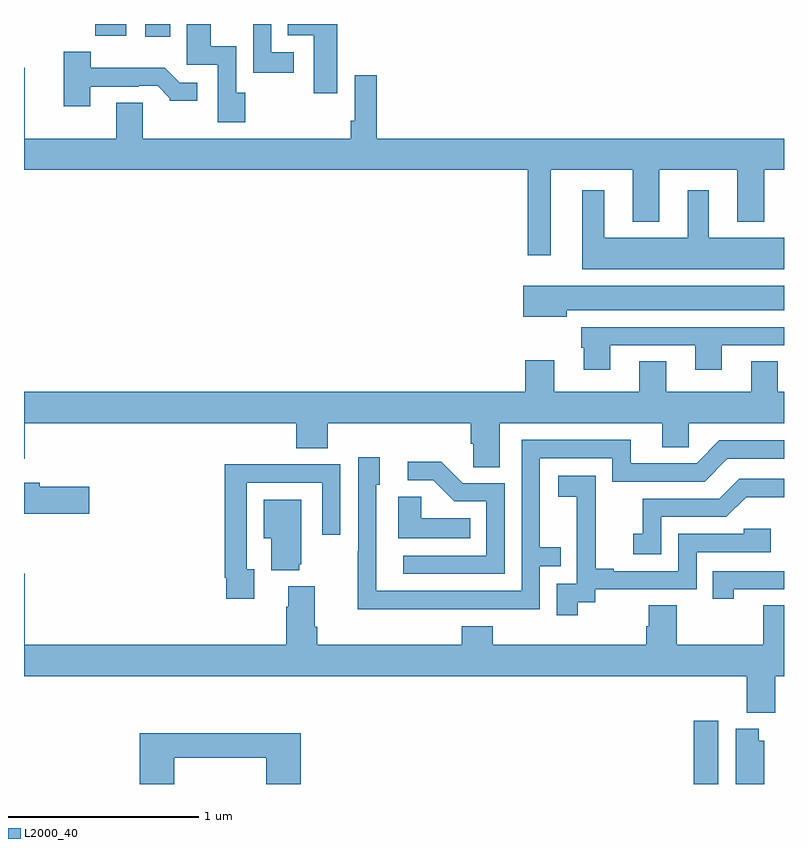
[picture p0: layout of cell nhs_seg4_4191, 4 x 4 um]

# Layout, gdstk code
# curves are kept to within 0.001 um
import gdstk
lib = gdstk.Library(unit=1e-6, precision=1e-09)
def R(c, l, rs):  # rectangles x0, y0, x1, y1
    for r in rs: c.add(gdstk.rectangle(r[:2], r[2:], *l))
def P(c, l, *ps):  # polygons
    for p in ps: c.add(gdstk.Polygon(p, *l))
L2000_40 = (2000, 40)

nhs_seg4_4191 = lib.new_cell('nhs_seg4_4191')
R(nhs_seg4_4191, L2000_40, [(336.524,814.9,336.655,815.233), (333.638,818.832,333.769,818.9), (333.376,818.837,333.538,818.9)])
P(nhs_seg4_4191, L2000_40, [(334.164,818.538),(334.116,818.538),(334.116,818.782),(333.982,818.782),(333.982,818.9),(333.857,818.9),(333.857,818.685),(334.02,818.685),(334.02,818.382),(334.164,818.382)],
  [(334.648,818.9),(334.387,818.9),(334.387,818.84),(334.526,818.84),(334.526,818.535),(334.648,818.535)],
  [(334.42,818.751),(334.302,818.751),(334.302,818.9),(334.206,818.9),(334.206,818.643),(334.42,818.643)],
  [(333.349,818.571),(333.605,818.571),(333.605,818.574),(333.704,818.574),(333.768,818.51),(333.768,818.495),(333.913,818.495),(333.913,818.592),(333.819,818.592),(333.741,818.671),(333.352,818.671),(333.352,818.755),(333.209,818.755),(333.209,818.466),(333.349,818.466)],
  [(333,818.671),(333,818.132),(335.652,818.132),(335.652,817.683),(335.773,817.683),(335.773,818.132),(336.203,818.132),(336.203,817.859),(336.343,817.859),(336.343,818.132),(336.755,818.132),(336.755,817.859),(336.895,817.859),(336.895,818.132),(337,818.132),(337,818.296),(334.856,818.296),(334.856,818.629),(334.74,818.629),(334.74,818.392),(334.72,818.392),(334.72,818.296),(333.625,818.296),(333.625,818.486),(333.485,818.486),(333.485,818.296),(333.004,818.296),(333.004,818.671)],
  [(337,817.774),(336.604,817.774),(336.604,818.026),(336.494,818.026),(336.494,817.774),(336.055,817.774),(336.055,818.026),(335.939,818.026),(335.939,817.61),(337,817.61)],
  [(335.857,817.394),(337,817.394),(337,817.522),(335.628,817.522),(335.628,817.358),(335.857,817.358)],
  [(336.085,817.209),(336.533,817.209),(336.533,817.08),(336.673,817.08),(336.673,817.209),(337,817.209),(337,817.305),(335.933,817.305),(335.933,817.197),(335.945,817.197),(335.945,817.08),(336.085,817.08)],
  [(335.503,816.8),(336.359,816.8),(336.359,816.673),(336.498,816.673),(336.498,816.8),(337,816.8),(337,816.964),(336.967,816.964),(336.967,817.124),(336.827,817.124),(336.827,816.964),(336.379,816.964),(336.379,817.124),(336.239,817.124),(336.239,816.964),(335.791,816.964),(335.791,817.129),(335.639,817.129),(335.639,816.964),(333,816.964),(333,816.612),(333.004,816.612),(333.004,816.8),(334.433,816.8),(334.433,816.667),(334.598,816.667),(334.598,816.8),(335.351,816.8),(335.351,816.691),(335.364,816.691),(335.364,816.568),(335.503,816.568)],
  [(335.219,815.82),(335.715,815.82),(335.715,816.045),(335.825,816.045),(335.825,816.146),(335.715,816.146),(335.715,816.615),(336.096,816.615),(336.096,816.492),(336.582,816.492),(336.702,816.612),(337,816.612),(337,816.708),(336.66,816.708),(336.54,816.588),(336.193,816.588),(336.193,816.711),(335.619,816.711),(335.619,815.916),(334.854,815.916),(334.854,816.474),(334.873,816.474),(334.873,816.619),(334.758,816.619),(334.758,816.125),(334.756,816.125),(334.756,815.819)],
  [(335.529,816.483),(335.31,816.483),(335.197,816.596),(335.019,816.596),(335.019,816.498),(335.153,816.498),(335.264,816.387),(335.433,816.387),(335.433,816.102),(334.995,816.102),(334.995,816.006),(335.529,816.006)],
  [(334.213,816.03),(334.173,816.03),(334.173,816.486),(334.569,816.486),(334.569,816.213),(334.665,816.213),(334.665,816.582),(334.349,816.582),(334.349,816.584),(334.057,816.584),(334.057,815.986),(334.065,815.986),(334.065,815.874),(334.213,815.874)],
  [(335.914,815.857),(336.006,815.857),(336.006,815.925),(336.54,815.925),(336.54,816.12),(336.929,816.12),(336.929,816.243),(336.789,816.243),(336.789,816.216),(336.444,816.216),(336.444,816.021),(336.103,816.021),(336.103,816.034),(336.008,816.034),(336.008,816.317),(336.009,816.317),(336.009,816.523),(335.811,816.523),(335.811,816.413),(335.909,816.413),(335.909,816.185),(335.91,816.185),(335.91,815.955),(335.805,815.955),(335.805,815.787),(335.914,815.787)],
  [(336.354,816.306),(336.696,816.306),(336.8,816.41),(337,816.41),(337,816.507),(336.764,816.507),(336.659,816.402),(336.256,816.402),(336.256,816.217),(336.207,816.217),(336.207,816.108),(336.354,816.108)],
  [(333.343,816.465),(333.082,816.465),(333.082,816.486),(333,816.486),(333,816.323),(333.343,816.323)],
  [(335.348,816.298),(335.091,816.298),(335.091,816.413),(334.97,816.413),(334.97,816.194),(335.348,816.194)],
  [(334.448,816.057),(334.459,816.057),(334.459,816.397),(334.262,816.397),(334.262,816.194),(334.301,816.194),(334.301,816.026),(334.448,816.026)],
  [(336.736,815.925),(337,815.925),(337,816.021),(336.625,816.021),(336.625,815.874),(336.736,815.874)],
  [(336.955,815.468),(337,815.468),(337,815.84),(336.892,815.84),(336.892,815.632),(336.435,815.632),(336.435,815.84),(336.287,815.84),(336.287,815.73),(336.275,815.73),(336.275,815.632),(335.468,815.632),(335.468,815.731),(335.303,815.731),(335.303,815.632),(334.544,815.632),(334.544,815.728),(334.531,815.728),(334.531,815.941),(334.391,815.941),(334.391,815.834),(334.379,815.834),(334.379,815.632),(333.004,815.632),(333.004,816.007),(333,816.007),(333,815.468),(336.803,815.468),(336.803,815.276),(336.955,815.276)],
  [(336.895,815.127),(336.868,815.127),(336.868,815.191),(336.746,815.191),(336.746,814.9),(336.895,814.9)],
  [(333.791,815.038),(334.274,815.038),(334.274,814.9),(334.457,814.9),(334.457,815.167),(333.608,815.167),(333.608,814.9),(333.791,814.9)])

lib.write_gds('nhs_seg4_4191.gds')
